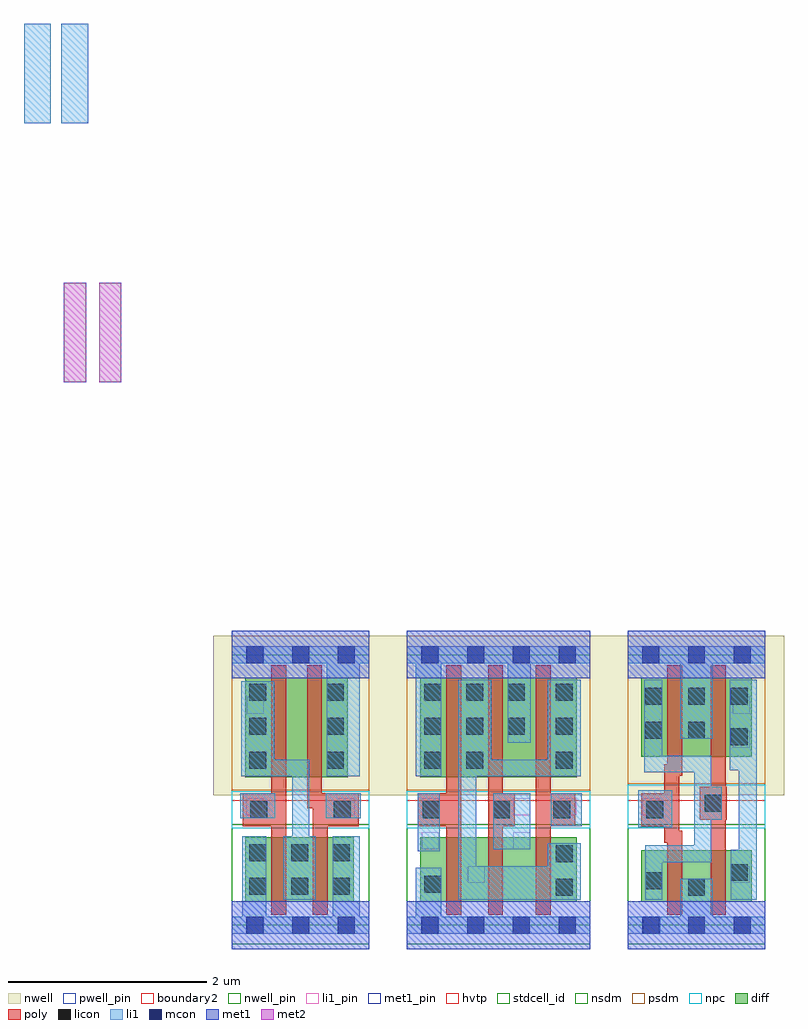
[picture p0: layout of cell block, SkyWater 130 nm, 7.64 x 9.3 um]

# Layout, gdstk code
import gdstk
lib = gdstk.Library(unit=1e-6, precision=1e-09)
def R(c, l, rs):  # rectangles x0, y0, x1, y1
    for r in rs: c.add(gdstk.rectangle(r[:2], r[2:], *l))
def A(c, l, x, y, w, h, nx, ny, dx, dy):  # array of equal rectangles
    R(c, l, [(x+i*dx, y+j*dy, x+i*dx+w, y+j*dy+h) for i in range(nx) for j in range(ny)])
def P(c, l, *ps):  # polygons
    for p in ps: c.add(gdstk.Polygon(p, *l))
nwell_pin = (64, 16)
nwell = (64, 20)
diff = (65, 20)
poly = (66, 20)
licon = (66, 44)
li1_pin = (67, 16)
li1 = (67, 20)
mcon = (67, 44)
met1_pin = (68, 16)
met1 = (68, 20)
met2 = (69, 20)
hvtp = (78, 44)
stdcell_id = (81, 4)
nsdm = (93, 44)
psdm = (94, 20)
npc = (95, 20)
pwell_pin = (122, 16)
boundary2 = (236, 0)

sky130_fd_sc_hd__nor2_1 = lib.new_cell('sky130_fd_sc_hd__nor2_1')
R(sky130_fd_sc_hd__nor2_1, nwell_pin, [(0.15,2.635,0.32,2.805)])
R(sky130_fd_sc_hd__nor2_1, nwell, [(-0.19,1.305,1.57,2.91)])
R(sky130_fd_sc_hd__nor2_1, diff, [(0.135,0.235,1.225,0.885), (0.135,1.485,1.165,2.485)])
P(sky130_fd_sc_hd__nor2_1, poly, [(0.815,0.105),(0.815,1.175),(0.755,1.175),(0.755,2.615),(0.905,2.615),(0.905,1.325),(1.275,1.325),(1.275,0.995),(0.965,0.995),(0.965,0.105)],
  [(0.395,0.105),(0.395,0.995),(0.11,0.995),(0.11,1.325),(0.395,1.325),(0.395,2.615),(0.545,2.615),(0.545,0.105)])
A(sky130_fd_sc_hd__nor2_1, licon, 0.175, 0.305, 0.17, 0.17, 3, 2, 0.42, 0.34)
A(sky130_fd_sc_hd__nor2_1, licon, 0.175, 1.575, 0.17, 0.17, 1, 3, 0, 0.34)
A(sky130_fd_sc_hd__nor2_1, licon, 0.955, 1.575, 0.17, 0.17, 1, 3, 0, 0.34)
R(sky130_fd_sc_hd__nor2_1, licon, [(0.185,1.075,0.355,1.245), (1.025,1.075,1.195,1.245)])
R(sky130_fd_sc_hd__nor2_1, li1_pin, [(0.145,1.105,0.315,1.275), (1.065,1.105,1.235,1.275), (0.15,2.125,0.32,2.295)])
R(sky130_fd_sc_hd__nor2_1, li1, [(0.085,1.075,0.435,1.325), (0.945,1.075,1.295,1.325)])
P(sky130_fd_sc_hd__nor2_1, li1, [(0,-0.085),(0,0.085),(0.105,0.085),(0.105,0.895),(0.345,0.895),(0.345,0.085),(1.015,0.085),(1.015,0.895),(1.285,0.895),(1.285,0.085),(1.38,0.085),(1.38,-0.085)],
  [(0.955,1.495),(0.955,2.635),(0,2.635),(0,2.805),(1.38,2.805),(1.38,2.635),(1.285,2.635),(1.285,1.495)],
  [(0.515,0.255),(0.515,0.895),(0.605,0.895),(0.605,1.495),(0.095,1.495),(0.095,2.45),(0.425,2.45),(0.425,1.665),(0.775,1.665),(0.775,0.895),(0.845,0.895),(0.845,0.255)])
A(sky130_fd_sc_hd__nor2_1, mcon, 0.145, -0.085, 0.17, 0.17, 3, 2, 0.46, 2.72)
R(sky130_fd_sc_hd__nor2_1, met1_pin, [(0.15,-0.085,0.32,0.085), (0.15,2.635,0.32,2.805)])
R(sky130_fd_sc_hd__nor2_1, hvtp, [(0,1.25,1.38,2.72)])
R(sky130_fd_sc_hd__nor2_1, stdcell_id, [(0,0,1.38,2.72)])
R(sky130_fd_sc_hd__nor2_1, nsdm, [(0,-0.19,1.38,1.015)])
R(sky130_fd_sc_hd__nor2_1, psdm, [(0,1.355,1.38,2.91)])
R(sky130_fd_sc_hd__nor2_1, npc, [(0,0.975,1.38,1.345)])
R(sky130_fd_sc_hd__nor2_1, pwell_pin, [(0.15,-0.085,0.32,0.085)])
R(sky130_fd_sc_hd__nor2_1, boundary2, [(0,0,1.38,2.72)])
sky130_fd_sc_hd__nor2_1.add(gdstk.FlexPath([(0,2.72),(1.38,2.72)], 0.48, ends="flush", simple_path=True, layer=68, datatype=20))  # met1
sky130_fd_sc_hd__nor2_1.add(gdstk.FlexPath([(0,0),(1.38,0)], 0.48, ends="flush", simple_path=True, layer=68, datatype=20))  # met1
sky130_fd_sc_hd__nor2_1.add(gdstk.Label('B', (0.23,1.19), layer=67, texttype=5))
sky130_fd_sc_hd__nor2_1.add(gdstk.Label('Y', (0.235,2.21), layer=67, texttype=5))
sky130_fd_sc_hd__nor2_1.add(gdstk.Label('A', (1.15,1.19), layer=67, texttype=5))
sky130_fd_sc_hd__nor2_1.add(gdstk.Label('VPB', (0.235,2.72), layer=64, texttype=5))
sky130_fd_sc_hd__nor2_1.add(gdstk.Label('VNB', (0.235,0), layer=64, texttype=59))
sky130_fd_sc_hd__nor2_1.add(gdstk.Label('VGND', (0.23,0), layer=68, texttype=5))
sky130_fd_sc_hd__nor2_1.add(gdstk.Label('VPWR', (0.23,2.72), layer=68, texttype=5))
sky130_fd_sc_hd__nor2_1.add(gdstk.Label('nor2_1', (0,0), layer=83, texttype=44))

sky130_fd_sc_hd__nand3_1 = lib.new_cell('sky130_fd_sc_hd__nand3_1')
R(sky130_fd_sc_hd__nand3_1, nwell_pin, [(0.15,2.635,0.32,2.805)])
R(sky130_fd_sc_hd__nand3_1, nwell, [(-0.19,1.305,2.03,2.91)])
R(sky130_fd_sc_hd__nand3_1, diff, [(0.135,0.235,1.705,0.885), (0.135,1.485,1.705,2.485)])
P(sky130_fd_sc_hd__nand3_1, poly, [(1.295,0.105),(1.295,2.615),(1.445,2.615),(1.445,1.325),(1.69,1.325),(1.69,0.995),(1.445,0.995),(1.445,0.105)],
  [(0.815,0.105),(0.815,2.615),(0.965,2.615),(0.965,1.325),(1.085,1.325),(1.085,0.995),(0.965,0.995),(0.965,0.105)],
  [(0.395,0.105),(0.395,0.995),(0.11,0.995),(0.11,1.325),(0.395,1.325),(0.395,2.615),(0.545,2.615),(0.545,0.105)])
A(sky130_fd_sc_hd__nand3_1, licon, 1.495, 1.575, 0.17, 0.17, 1, 3, 0, 0.34)
A(sky130_fd_sc_hd__nand3_1, licon, 0.175, 1.915, 0.17, 0.17, 3, 2, 0.42, 0.34)
R(sky130_fd_sc_hd__nand3_1, licon, [(1.495,0.295,1.665,0.465), (0.175,0.325,0.345,0.495), (1.495,0.635,1.665,0.805), (0.16,1.075,0.33,1.245), (0.865,1.075,1.035,1.245), (1.47,1.075,1.64,1.245), (0.175,1.575,0.345,1.745), (0.595,1.575,0.765,1.745)])
R(sky130_fd_sc_hd__nand3_1, li1_pin, [(0.61,0.425,0.78,0.595), (0.15,0.765,0.32,0.935), (1.07,0.765,1.24,0.935), (0.15,1.105,0.32,1.275), (1.07,1.105,1.24,1.275), (1.53,1.105,1.7,1.275)])
R(sky130_fd_sc_hd__nand3_1, li1, [(0.11,0.745,0.33,1.325), (0.865,0.765,1.24,1.325), (1.445,0.995,1.755,1.325)])
P(sky130_fd_sc_hd__nand3_1, li1, [(0.09,1.495),(0.09,2.635),(0,2.635),(0,2.805),(1.84,2.805),(1.84,2.635),(1.245,2.635),(1.245,1.835),(1.015,1.835),(1.015,2.635),(0.345,2.635),(0.345,1.495)],
  [(0,-0.085),(0,0.085),(0.09,0.085),(0.09,0.575),(0.345,0.575),(0.345,0.085),(1.84,0.085),(1.84,-0.085)],
  [(0.515,0.255),(0.515,2.465),(0.845,2.465),(0.845,1.665),(1.415,1.665),(1.415,2.465),(1.745,2.465),(1.745,1.495),(0.695,1.495),(0.695,0.595),(1.415,0.595),(1.415,0.825),(1.745,0.825),(1.745,0.255)])
A(sky130_fd_sc_hd__nand3_1, mcon, 0.145, -0.085, 0.17, 0.17, 4, 2, 0.46, 2.72)
R(sky130_fd_sc_hd__nand3_1, met1_pin, [(0.15,-0.085,0.32,0.085), (0.15,2.635,0.32,2.805)])
R(sky130_fd_sc_hd__nand3_1, hvtp, [(0,1.25,1.84,2.72)])
R(sky130_fd_sc_hd__nand3_1, stdcell_id, [(0,0,1.84,2.72)])
R(sky130_fd_sc_hd__nand3_1, nsdm, [(0,-0.19,1.84,1.015)])
R(sky130_fd_sc_hd__nand3_1, psdm, [(0,1.355,1.84,2.91)])
R(sky130_fd_sc_hd__nand3_1, npc, [(0,0.975,1.84,1.345)])
R(sky130_fd_sc_hd__nand3_1, pwell_pin, [(0.15,-0.085,0.32,0.085)])
R(sky130_fd_sc_hd__nand3_1, boundary2, [(0,0,1.84,2.72)])
sky130_fd_sc_hd__nand3_1.add(gdstk.FlexPath([(0,2.72),(1.84,2.72)], 0.48, ends="flush", simple_path=True, layer=68, datatype=20))  # met1
sky130_fd_sc_hd__nand3_1.add(gdstk.FlexPath([(0,0),(1.84,0)], 0.48, ends="flush", simple_path=True, layer=68, datatype=20))  # met1
sky130_fd_sc_hd__nand3_1.add(gdstk.Label('Y', (0.695,0.51), layer=67, texttype=5))
sky130_fd_sc_hd__nand3_1.add(gdstk.Label('A', (1.615,1.19), layer=67, texttype=5))
sky130_fd_sc_hd__nand3_1.add(gdstk.Label('C', (0.235,1.19), layer=67, texttype=5))
sky130_fd_sc_hd__nand3_1.add(gdstk.Label('B', (1.155,1.19), layer=67, texttype=5))
sky130_fd_sc_hd__nand3_1.add(gdstk.Label('VPB', (0.235,2.72), layer=64, texttype=5))
sky130_fd_sc_hd__nand3_1.add(gdstk.Label('VNB', (0.235,0), layer=64, texttype=59))
sky130_fd_sc_hd__nand3_1.add(gdstk.Label('VGND', (0.235,0), layer=68, texttype=5))
sky130_fd_sc_hd__nand3_1.add(gdstk.Label('VPWR', (0.235,2.72), layer=68, texttype=5))
sky130_fd_sc_hd__nand3_1.add(gdstk.Label('nand3_1', (0,0), layer=83, texttype=44))

sky130_fd_sc_hd__buf_1 = lib.new_cell('sky130_fd_sc_hd__buf_1')
R(sky130_fd_sc_hd__buf_1, nwell_pin, [(0.145,2.635,0.315,2.805)])
R(sky130_fd_sc_hd__buf_1, nwell, [(-0.19,1.305,1.57,2.91)])
R(sky130_fd_sc_hd__buf_1, diff, [(0.135,0.235,1.245,0.755), (0.135,1.695,1.245,2.485)])
P(sky130_fd_sc_hd__buf_1, poly, [(0.835,0.105),(0.835,1.06),(0.725,1.06),(0.725,1.39),(0.835,1.39),(0.835,2.615),(0.985,2.615),(0.985,1.39),(0.995,1.39),(0.995,1.06),(0.985,1.06),(0.985,0.105)],
  [(0.395,0.105),(0.395,0.83),(0.365,0.83),(0.365,0.995),(0.135,0.995),(0.135,1.325),(0.365,1.325),(0.365,1.62),(0.395,1.62),(0.395,2.615),(0.545,2.615),(0.545,1.5),(0.515,1.5),(0.515,0.95),(0.545,0.95),(0.545,0.105)])
A(sky130_fd_sc_hd__buf_1, licon, 0.175, 2.215, 0.17, 0.17, 3, 1, 0.43, 0)
R(sky130_fd_sc_hd__buf_1, licon, [(0.605,0.295,0.775,0.465), (0.175,0.36,0.345,0.53), (1.035,0.445,1.205,0.615), (0.185,1.075,0.355,1.245), (0.775,1.14,0.945,1.31), (1.035,1.81,1.205,1.98), (0.175,1.875,0.345,2.045), (0.605,1.875,0.775,2.045)])
R(sky130_fd_sc_hd__buf_1, li1_pin, [(0.155,-0.085,0.325,0.085), (1.055,0.425,1.225,0.595), (0.145,1.105,0.315,1.275), (1.055,1.785,1.225,1.955), (1.055,2.125,1.225,2.295), (0.145,2.635,0.315,2.805)])
R(sky130_fd_sc_hd__buf_1, li1, [(0.105,0.985,0.445,1.355)])
P(sky130_fd_sc_hd__buf_1, li1, [(1.035,0.255),(1.035,0.76),(1.115,0.76),(1.115,1.56),(1.025,1.56),(1.025,2.465),(1.295,2.465),(1.295,0.255)],
  [(0,-0.085),(0,0.085),(0.525,0.085),(0.525,0.465),(0.855,0.465),(0.855,0.085),(1.38,0.085),(1.38,-0.085)],
  [(0.175,0.255),(0.175,0.805),(0.67,0.805),(0.67,1.535),(0.165,1.535),(0.165,2.465),(0.345,2.465),(0.345,1.705),(0.84,1.705),(0.84,1.39),(0.945,1.39),(0.945,1.06),(0.84,1.06),(0.84,0.635),(0.345,0.635),(0.345,0.255)],
  [(0.525,1.875),(0.525,2.635),(0,2.635),(0,2.805),(1.38,2.805),(1.38,2.635),(0.855,2.635),(0.855,1.875)])
A(sky130_fd_sc_hd__buf_1, mcon, 0.145, -0.085, 0.17, 0.17, 3, 2, 0.46, 2.72)
R(sky130_fd_sc_hd__buf_1, met1_pin, [(0.155,-0.085,0.325,0.085), (0.145,2.635,0.315,2.805)])
R(sky130_fd_sc_hd__buf_1, hvtp, [(0,1.25,1.38,2.72)])
R(sky130_fd_sc_hd__buf_1, stdcell_id, [(0,0,1.38,2.72)])
R(sky130_fd_sc_hd__buf_1, nsdm, [(0,-0.19,1.38,1.015)])
R(sky130_fd_sc_hd__buf_1, psdm, [(0,1.42,1.38,2.91)])
R(sky130_fd_sc_hd__buf_1, npc, [(0,0.975,1.38,1.41)])
R(sky130_fd_sc_hd__buf_1, pwell_pin, [(0.155,-0.085,0.325,0.085)])
R(sky130_fd_sc_hd__buf_1, boundary2, [(0,0,1.38,2.72)])
sky130_fd_sc_hd__buf_1.add(gdstk.FlexPath([(0,0),(1.38,0)], 0.48, ends="flush", simple_path=True, layer=68, datatype=20))  # met1
sky130_fd_sc_hd__buf_1.add(gdstk.FlexPath([(0,2.72),(1.38,2.72)], 0.48, ends="flush", simple_path=True, layer=68, datatype=20))  # met1
sky130_fd_sc_hd__buf_1.add(gdstk.Label('VPWR', (0.23,2.72), layer=67, texttype=5))
sky130_fd_sc_hd__buf_1.add(gdstk.Label('VGND', (0.23,0), layer=67, texttype=5))
sky130_fd_sc_hd__buf_1.add(gdstk.Label('X', (1.14,0.51), layer=67, texttype=5))
sky130_fd_sc_hd__buf_1.add(gdstk.Label('X', (1.14,1.87), layer=67, texttype=5))
sky130_fd_sc_hd__buf_1.add(gdstk.Label('X', (1.14,2.21), layer=67, texttype=5))
sky130_fd_sc_hd__buf_1.add(gdstk.Label('A', (0.23,1.19), layer=67, texttype=5))
sky130_fd_sc_hd__buf_1.add(gdstk.Label('VPB', (0.23,2.72), layer=64, texttype=5))
sky130_fd_sc_hd__buf_1.add(gdstk.Label('VNB', (0.23,0), layer=64, texttype=59))
sky130_fd_sc_hd__buf_1.add(gdstk.Label('VGND', (0.23,0), layer=68, texttype=5))
sky130_fd_sc_hd__buf_1.add(gdstk.Label('VPWR', (0.23,2.72), layer=68, texttype=5))
sky130_fd_sc_hd__buf_1.add(gdstk.Label('buf_1', (0,0), layer=83, texttype=44))

block = lib.new_cell('block')
R(block, li1, [(-2.09,8.06,-1.82,9.06), (-1.715,8.06,-1.445,9.06)])
R(block, met2, [(-1.69,5.46,-1.465,6.46), (-1.335,5.46,-1.11,6.46)])
block.add(gdstk.Reference(sky130_fd_sc_hd__nor2_1, (0,0)))
block.add(gdstk.Reference(sky130_fd_sc_hd__nand3_1, (1.76,0)))
block.add(gdstk.Reference(sky130_fd_sc_hd__buf_1, (3.98,0)))

lib.write_gds('block.gds')
